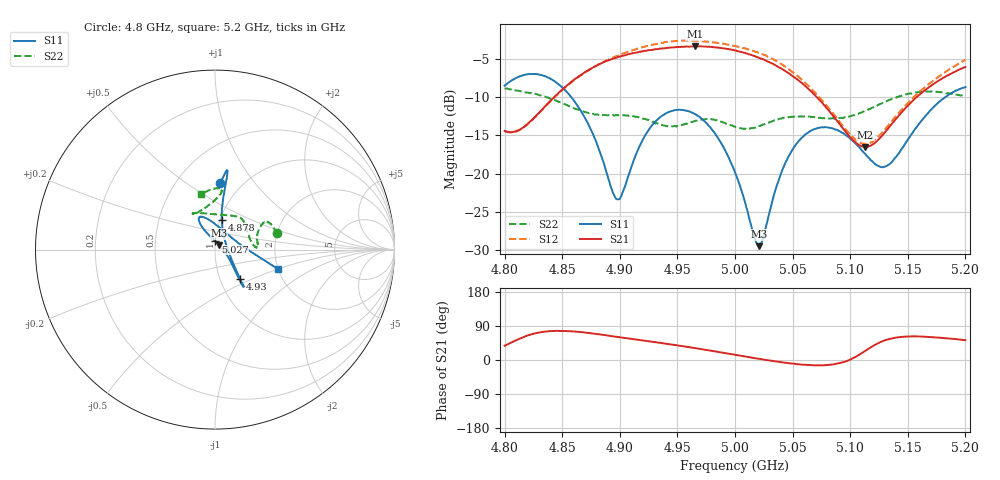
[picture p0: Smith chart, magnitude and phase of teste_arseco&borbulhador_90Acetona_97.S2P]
! Network Analyzer HP8722D
! Hewlett-Packard
! Data name: Linha & Wilkinson
! Saver's name: Rodrigo Anjos
! Comments: Teste da utilização de aquisição
! continua pelo VNA HP8722D
! Time and date: 17/4/2025 11:51
!  Frequency  S11  S21  S12  S22
# HZ  S  MA R 50
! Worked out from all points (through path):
!   401 points, 4.8 GHz to 5.2 GHz, reference 50 ohm
!   highest |S21| = -3.37 dB at 4.965 GHz (marker M1); lowest = -16.5 dB at 5.113 GHz (marker M2)
!   lowest |S11| = -29.5 dB at 5.021 GHz (marker M3), VSWR 1.07, Z = 52.3 + j2.55 ohm
!   |S11| at or under -10 dB: 4.858 GHz to 5.183 GHz (325.1 MHz wide, 6.48 % of centre)
!   |S22| runs from -14.2 to -8.9 dB; largest |S21 - S12| = 0.23
!   S11 on the Smith chart (normalised r, x): 4.8 GHz: 0.80, +0.69; 4.878 GHz: 1.02, +0.35; 4.93 GHz: 1.24, -0.43; 5.027 GHz: 1.00, +0.09; 5.2 GHz: 2.00, -0.50
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4.8e9  0.3745 85.4  0.1898 37.6  0.1898 -2.2  0.3585 14.5
4.814e9  0.4329 82.3  0.1948 57.7  0.1942 19.0  0.3453 23.3
4.834e9  0.4343 80.8  0.2686 74.4  0.2673 37.9  0.3197 28.8
4.867e9  0.2506 80.6  0.4449 73.2  0.4416 43.4  0.2564 21.4
4.878e9  0.171 77.4  0.4983 69.3  0.4975 42.5  0.2429 16.3
4.894e9  0.07505 42.7  0.5611 62.5  0.5717 40.0  0.2413 8.7
4.899e9  0.0679 13.5  0.5779 60.4  0.5908 39.2  0.2402 6.9
4.917e9  0.1501 -41.8  0.6233 52.7  0.6599 35.2  0.2324 2.6
4.93e9  0.2151 -49.4  0.6457 47.5  0.6957 31.7  0.215 6.9
4.934e9  0.2302 -50.7  0.6514 45.6  0.7088 30.3  0.2102 9.4
4.965e9  0.245 -52.2  0.6781 31.4  0.7369 18.5  0.2198 41.2
4.983e9  0.1812 -48.2  0.6667 22.8  0.7151 11.7  0.2228 54.3
5e9  0.102 -35.5  0.6366 13.5  0.681 5.4  0.2023 72.3
5.021e9  0.03357 46.6  0.5689 3.2  0.6132 -2.6  0.2044 101.3
5.027e9  0.0454 86.5  0.5455 0.2  0.5895 -4.7  0.2129 107.5
5.045e9  0.1224 118.2  0.4604 -7.7  0.4902 -10.9  0.2324 118.9
5.067e9  0.1923 118.3  0.3389 -13.8  0.3532 -13.7  0.2337 121.1
5.089e9  0.1927 109.5  0.2188 -9.6  0.227 -5.3  0.23 112.3
5.113e9  0.1344 85.0  0.1488 23.8  0.156 31.5  0.2566 95.5
5.134e9  0.1149 33.8  0.2015 55.4  0.2103 65.7  0.3017 85.3
5.171e9  0.2652 -10.9  0.3785 60.5  0.3976 78.2  0.3433 87.4
5.2e9  0.3666 -17.1  0.4955 52.3  0.5524 76.1  0.3201 104.4
